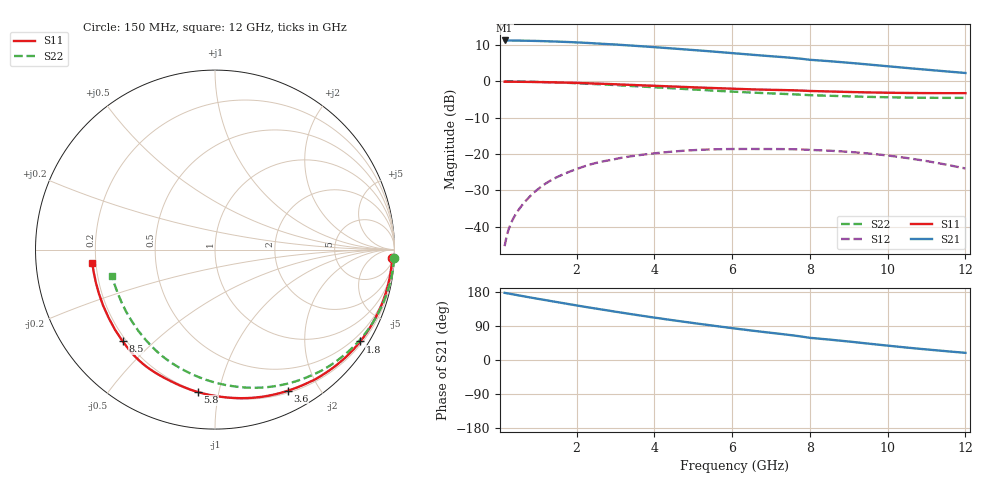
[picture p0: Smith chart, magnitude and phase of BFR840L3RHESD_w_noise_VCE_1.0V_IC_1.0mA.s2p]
! Infineon Technologies  Discrete & RF Semiconductors
! BFR840L3RHESD
! VCE =  1.0 V,  IC =  1.0 mA
! Common Emitter S-Parameters:  Jun 2012
# GHz  S  MA  R  50
!  f  S11  S21  S12  S22
! GHz  MAG  ANG  MAG  ANG  MAG  ANG  MAG  ANG
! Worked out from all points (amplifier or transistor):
!   91 points, 150 MHz to 12 GHz, reference 50 ohm
!   highest |S21| = 11.2 dB at 150 MHz (marker M1)
!   |S21| within 3 dB of that: start of sweep to 5.445 GHz
!   unconditionally stable (mu >= 1): 10.23 GHz to end of sweep
!   at 1.3 GHz: K = 0.06, MSG = 19.2 dB, |S12| = -27.5 dB
!   at 4.3 GHz: K = 0.19, MSG = 14.3 dB, |S12| = -19.5 dB
!   at 12 GHz: K = 1.88, MAG = 7.7 dB, |S12| = -24.0 dB
!   lowest NFmin = 0.33 dB at 450 MHz
!   S11 on the Smith chart (normalised r, x): 150 MHz: 9, -39; 1.8 GHz: 0.28, -3.43; 3.6 GHz: 0.22, -1.62; 5.8 GHz: 0.20, -0.87; 8.5 GHz: 0.19, -0.40; 12 GHz: 0.19, -0.05
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0.15  0.9894 -2.8  3.651 177.2  0.0054 84.4  0.9983 -2.8
0.25  0.988 -4.7  3.645 175.4  0.0091 84.6  0.9976 -4.6
0.35  0.987 -6.6  3.64 173.5  0.0123 84.6  0.9966 -6.4
0.5  0.9856 -9.3  3.632 170.7  0.0168 83.0  0.9943 -9.1
0.7  0.9831 -12.8  3.619 167.0  0.0229 79.2  0.9901 -12.6
1.2  0.9735 -21.7  3.564 158.1  0.0391 70.0  0.9758 -21.4
1.8  0.9574 -32.3  3.471 147.5  0.0566 61.6  0.9521 -31.7
2.2  0.9434 -39.4  3.393 140.6  0.0677 55.2  0.9319 -38.4
3  0.9118 -52.9  3.216 127.4  0.0854 44.0  0.8878 -51.3
3.6  0.8847 -62.7  3.056 118.0  0.0963 35.8  0.8521 -60.8
4.2  0.8605 -72.4  2.901 109.0  0.1048 28.2  0.8173 -69.8
5  0.8279 -84.8  2.696 97.6  0.113 17.9  0.7723 -81.3
5.8  0.799 -96.9  2.496 86.8  0.1168 8.5  0.7319 -92.5
6.1  0.7889 -101.3  2.421 82.8  0.1173 5.2  0.718 -96.6
6.6  0.7736 -108.5  2.302 76.5  0.1173 -0.1  0.6971 -103.3
7.3  0.7589 -118.2  2.155 68.2  0.1169 -6.7  0.6727 -112.2
7.6  0.7518 -122.7  2.089 64.5  0.1163 -9.8  0.6622 -116.3
8  0.7371 -129.8  1.979 58.5  0.114 -15.4  0.6453 -122.8
8.5  0.7253 -135.2  1.894 53.9  0.1112 -19.9  0.6334 -127.9
9.5  0.7041 -147.3  1.706 43.3  0.1019 -30.6  0.6117 -139.3
10.5  0.6918 -159.1  1.526 32.7  0.0881 -41.2  0.5976 -150.7
12  0.6879 -173.9  1.303 18.9  0.0633 -53.5  0.5929 -165.5
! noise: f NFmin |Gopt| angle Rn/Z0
0.45  0.33  0.88  10  0.41
0.9  0.36  0.86  14  0.39
1.9  0.41  0.8  27  0.37
3.5  0.46  0.76  44  0.34
4  0.5  0.74  55  0.33
5.5  0.61  0.75  73  0.29
7  0.78  0.71  93  0.24
8  0.93  0.69  105  0.21
10  1.21  0.61  124  0.16
12  1.56  0.55  153  0.08
